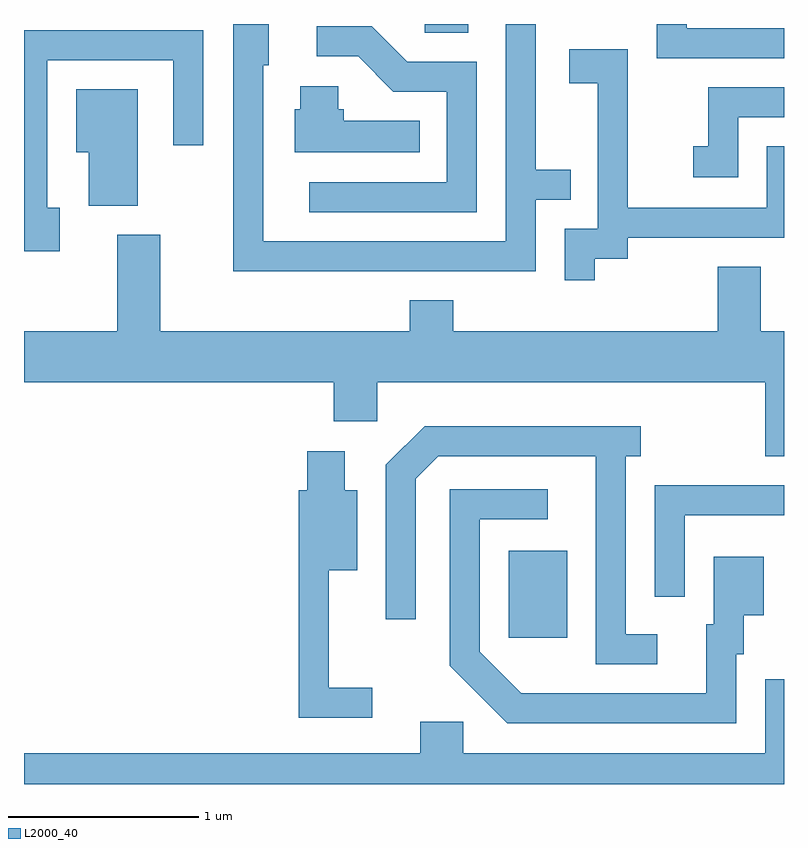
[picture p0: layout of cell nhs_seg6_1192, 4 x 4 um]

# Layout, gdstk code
import gdstk
lib = gdstk.Library(unit=1e-6, precision=1e-09)
def R(c, l, rs):  # rectangles x0, y0, x1, y1
    for r in rs: c.add(gdstk.rectangle(r[:2], r[2:], *l))
def P(c, l, *ps):  # polygons
    for p in ps: c.add(gdstk.Polygon(p, *l))
L2000_40 = (2000, 40)

nhs_seg6_1192 = lib.new_cell('nhs_seg6_1192')
R(nhs_seg6_1192, L2000_40, [(224.161,1530.931,224.469,1531.389), (223.721,1534.116,223.949,1534.162)])
P(nhs_seg6_1192, L2000_40, [(224.304,1533.236),(224.488,1533.236),(224.488,1533.394),(224.304,1533.394),(224.304,1534.162),(224.146,1534.162),(224.146,1533.019),(222.869,1533.019),(222.869,1533.946),(222.899,1533.946),(222.899,1534.162),(222.711,1534.162),(222.711,1532.861),(224.304,1532.861)],
  [(225.611,1534.139),(225.099,1534.139),(225.099,1534.162),(224.941,1534.162),(224.941,1533.981),(225.611,1533.981)],
  [(223.994,1533.964),(223.627,1533.964),(223.442,1534.149),(223.153,1534.149),(223.153,1533.991),(223.369,1533.991),(223.554,1533.806),(223.836,1533.806),(223.836,1533.329),(223.113,1533.329),(223.113,1533.171),(223.994,1533.171)],
  [(221.799,1533.194),(221.734,1533.194),(221.734,1533.971),(222.396,1533.971),(222.396,1533.523),(222.554,1533.523),(222.554,1534.129),(221.611,1534.129),(221.611,1532.966),(221.799,1532.966)],
  [(224.614,1532.926),(224.789,1532.926),(224.789,1533.036),(225.611,1533.036),(225.611,1533.519),(225.521,1533.519),(225.521,1533.194),(224.789,1533.194),(224.789,1534.029),(224.481,1534.029),(224.481,1533.851),(224.631,1533.851),(224.631,1533.084),(224.456,1533.084),(224.456,1532.813),(224.614,1532.813)],
  [(223.693,1533.654),(223.294,1533.654),(223.294,1533.714),(223.264,1533.714),(223.264,1533.834),(223.066,1533.834),(223.066,1533.714),(223.036,1533.714),(223.036,1533.486),(223.693,1533.486)],
  [(225.369,1533.671),(225.611,1533.671),(225.611,1533.829),(225.211,1533.829),(225.211,1533.519),(225.133,1533.519),(225.133,1533.356),(225.369,1533.356)],
  [(222.209,1533.819),(221.886,1533.819),(221.886,1533.486),(221.951,1533.486),(221.951,1533.206),(222.209,1533.206)],
  [(225.611,1532.544),(225.489,1532.544),(225.489,1532.884),(225.261,1532.884),(225.261,1532.544),(223.869,1532.544),(223.869,1532.709),(223.641,1532.709),(223.641,1532.544),(222.329,1532.544),(222.329,1533.054),(222.101,1533.054),(222.101,1532.544),(221.611,1532.544),(221.611,1532.276),(223.241,1532.276),(223.241,1532.071),(223.469,1532.071),(223.469,1532.276),(225.511,1532.276),(225.511,1531.886),(225.611,1531.886)],
  [(224.943,1530.949),(224.779,1530.949),(224.779,1531.886),(224.858,1531.886),(224.858,1532.044),(223.719,1532.044),(223.516,1531.842),(223.516,1531.028),(223.674,1531.028),(223.674,1531.769),(223.792,1531.886),(224.621,1531.886),(224.621,1530.791),(224.943,1530.791)],
  [(223.443,1530.669),(223.214,1530.669),(223.214,1531.286),(223.364,1531.286),(223.364,1531.709),(223.299,1531.709),(223.299,1531.914),(223.101,1531.914),(223.101,1531.709),(223.056,1531.709),(223.056,1530.511),(223.443,1530.511)],
  [(225.089,1531.576),(225.611,1531.576),(225.611,1531.734),(224.931,1531.734),(224.931,1531.148),(225.089,1531.148)],
  [(225.359,1530.846),(225.399,1530.846),(225.399,1531.051),(225.504,1531.051),(225.504,1531.359),(225.241,1531.359),(225.241,1531.004),(225.201,1531.004),(225.201,1530.639),(224.227,1530.639),(224.009,1530.857),(224.009,1531.556),(224.368,1531.556),(224.368,1531.714),(223.851,1531.714),(223.851,1530.784),(224.154,1530.481),(225.359,1530.481)],
  [(225.611,1530.714),(225.511,1530.714),(225.511,1530.324),(223.924,1530.324),(223.924,1530.489),(223.696,1530.489),(223.696,1530.324),(221.611,1530.324),(221.611,1530.162),(225.611,1530.162)])

lib.write_gds('nhs_seg6_1192.gds')
